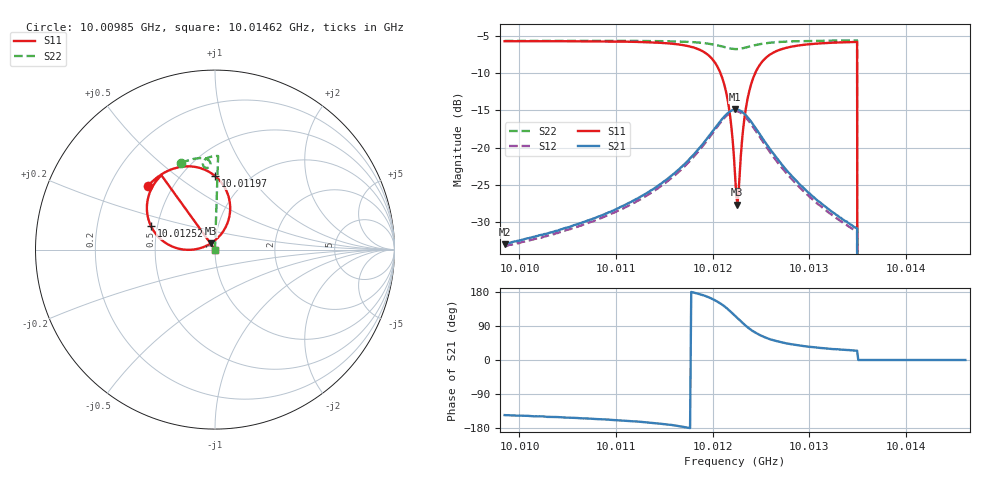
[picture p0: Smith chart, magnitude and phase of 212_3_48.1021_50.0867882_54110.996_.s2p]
#  HZ  S  RI  R  50.00
! Rohde & Schwarz Vector Network Analyzer
! Rohde-Schwarz,ZNB20-2Port,1311601062101988,3.16
! Created: UTC 12/23/2023, 3:55:51 AM
! freq[Hz]  re:S11  im:S11  re:S21  im:S21  re:S12  im:S12  re:S22  im:S22
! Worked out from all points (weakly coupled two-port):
!   401 points, 10.00985 GHz to 10.01462 GHz, reference 50 ohm
!   highest |S21| = -14.90 dB at 10.01223 GHz (marker M1); lowest = -32.9 dB at 10.00985 GHz (marker M2)
!   lowest |S11| = -27.6 dB at 10.01225 GHz (marker M3), VSWR 1.09, Z = 47.7 + j3.37 ohm
!   |S11| at or under -10 dB: 10.01208 GHz to 10.01244 GHz (361.3 kHz wide, 0.00361 % of centre); 10.0135 GHz to end of sweep
!   |S22| runs from - to -5.6 dB; largest |S21 - S12| = 0.0089
!   S11 on the Smith chart (normalised r, x): 10.00985 GHz: 0.36, +0.35; 10.01197 GHz: 0.72, +0.70; 10.01252 GHz: 0.46, +0.14; 10.01462 GHz: 1.00, +0.00
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1.0009846e10  -0.3743 0.3549  -0.0185 -0.0128  -0.0172 -0.0134  -0.1912 0.482
1.0010645e10  -0.3188 0.4049  -0.0282 -0.0139  -0.0263 -0.0148  -0.1402 0.4997
1.0011444e10  -0.2139 0.4562  -0.0548 -0.012  -0.0521 -0.0144  -0.0822 0.51
1.001179e10  -0.103 0.4594  -0.0878 0.00171  -0.0848 -0.00297  -0.0505 0.5064
1.0011969e10  0.00174 0.4087  -0.1166 0.0324  -0.1148 0.0254  -0.032 0.4946
1.0012064e10  0.0636 0.3274  -0.1286 0.0694  -0.1288 0.061  -0.0255 0.4811
1.0012136e10  0.0845 0.2252  -0.1245 0.1087  -0.1265 0.1007  -0.0266 0.468
1.0012183e10  0.0674 0.1423  -0.1082 0.1378  -0.1117 0.1299  -0.0323 0.4599
1.0012231e10  0.0152 0.065  -0.0805 0.1609  -0.085 0.1536  -0.0418 0.4551
1.0012243e10  -0.00215 0.0497  -0.0722 0.1648  -0.0769 0.1577  -0.0444 0.4546
1.0012255e10  -0.0219 0.0353  -0.0637 0.1678  -0.0688 0.161  -0.047 0.4547
1.0012279e10  -0.0644 0.0139  -0.0462 0.1713  -0.051 0.1651  -0.0523 0.4556
1.0012326e10  -0.153 -0.00132  -0.0114 0.1684  -0.0159 0.1629  -0.0612 0.4611
1.0012362e10  -0.2135 0.00823  0.0107 0.1592  0.00506 0.1541  -0.0652 0.467
1.0012434e10  -0.3029 0.0586  0.0395 0.1325  0.0336 0.1284  -0.0676 0.4799
1.0012517e10  -0.3566 0.1303  0.0534 0.1019  0.0474 0.0993  -0.0636 0.4924
1.0012732e10  -0.3775 0.2634  0.0525 0.0534  0.0475 0.0531  -0.0443 0.5096
1.001303e10  -0.3473 0.3519  0.0392 0.0268  0.0362 0.0271  -0.0182 0.5183
1.0013471e10  -0.3008 0.4117  0.0266 0.0123  0.0247 0.0131  0.0157 0.5217
1.0013531e10  0 0  0 0  0 0  0 0
1.0013829e10  0 0  0 0  0 0  0 0
1.0014616e10  0 0  0 0  0 0  0 0
